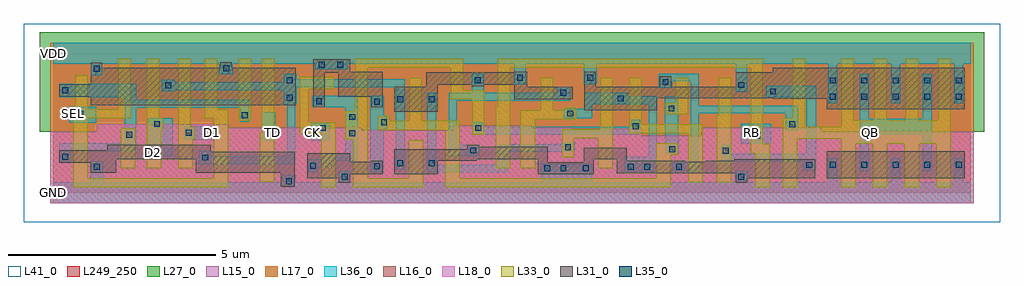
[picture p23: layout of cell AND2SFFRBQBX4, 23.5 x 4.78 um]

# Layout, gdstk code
import gdstk
lib = gdstk.Library(unit=1e-6, precision=1e-09)
def R(c, l, rs):  # rectangles x0, y0, x1, y1
    for r in rs: c.add(gdstk.rectangle(r[:2], r[2:], *l))
def A(c, l, x, y, w, h, nx, ny, dx, dy):  # array of equal rectangles
    R(c, l, [(x+i*dx, y+j*dy, x+i*dx+w, y+j*dy+h) for i in range(nx) for j in range(ny)])
def P(c, l, *ps):  # polygons
    for p in ps: c.add(gdstk.Polygon(p, *l))
L15_0 = (15, 0)
L16_0 = (16, 0)
L17_0 = (17, 0)
L18_0 = (18, 0)
L27_0 = (27, 0)
L31_0 = (31, 0)
L33_0 = (33, 0)
L35_0 = (35, 0)
L36_0 = (36, 0)
L41_0 = (41, 0)
L249_250 = (249, 250)

and2sffrbqbx4 = lib.new_cell('AND2SFFRBQBX4')
P(and2sffrbqbx4, L15_0, [(14.169,1.369),(14.169,1.54),(12.479,1.54),(12.479,1.56),(11.532,1.56),(11.532,1.61),(9.621,1.61),(9.621,1.5),(7.422,1.5),(7.422,1.56),(4.203,1.56),(4.203,1.654),(1.051,1.654),(1.051,1.47),(-0.08,1.47),(-0.08,3.61),(22.16,3.61),(22.16,1.47),(18.481,1.47),(18.481,1.56),(15.614,1.56),(15.614,1.369)])
P(and2sffrbqbx4, L16_0, [(-0.08,-0.25),(-0.08,1.47),(1.051,1.47),(1.051,1.654),(4.203,1.654),(4.203,1.56),(7.422,1.56),(7.422,1.5),(9.621,1.5),(9.621,1.61),(11.532,1.61),(11.532,1.56),(12.479,1.56),(12.479,1.54),(14.169,1.54),(14.169,1.369),(15.614,1.369),(15.614,1.56),(18.481,1.56),(18.481,1.47),(22.16,1.47),(22.16,-0.25)])
P(and2sffrbqbx4, L17_0, [(14.169,1.369),(14.169,1.54),(12.479,1.54),(12.479,1.56),(11.532,1.56),(11.532,1.61),(9.621,1.61),(9.621,1.5),(7.422,1.5),(7.422,1.56),(4.203,1.56),(4.203,1.654),(1.051,1.654),(1.051,1.47),(-0.08,1.47),(-0.08,3.61),(22.16,3.61),(22.16,1.47),(18.481,1.47),(18.481,1.56),(15.614,1.56),(15.614,1.369)])
P(and2sffrbqbx4, L18_0, [(-0.08,-0.25),(-0.08,1.47),(1.051,1.47),(1.051,1.654),(4.203,1.654),(4.203,1.56),(7.422,1.56),(7.422,1.5),(9.621,1.5),(9.621,1.61),(11.532,1.61),(11.532,1.56),(12.479,1.56),(12.479,1.54),(14.169,1.54),(14.169,1.369),(15.614,1.369),(15.614,1.56),(18.481,1.56),(18.481,1.47),(22.16,1.47),(22.16,-0.25)])
P(and2sffrbqbx4, L27_0, [(14.169,1.369),(14.169,1.54),(12.479,1.54),(12.479,1.56),(11.532,1.56),(11.532,1.61),(9.621,1.61),(9.621,1.5),(7.422,1.5),(7.422,1.56),(4.203,1.56),(4.203,1.654),(1.051,1.654),(1.051,1.47),(-0.33,1.47),(-0.33,3.86),(22.41,3.86),(22.41,1.47),(18.481,1.47),(18.481,1.56),(15.614,1.56),(15.614,1.369)])
R(and2sffrbqbx4, L31_0, [(18.62,0.35,21.94,1)])
P(and2sffrbqbx4, L31_0, [(0.9,2.11),(0.9,2.315),(0.14,2.315),(0.14,2.615),(0.9,2.615),(0.9,3.125),(1.18,3.125),(1.18,3.01),(4.016,3.01),(4.016,3.139),(4.296,3.139),(4.296,3.01),(5.83,3.01),(5.83,2.11)],
  [(7.65,2.055),(7.65,2.31),(6.853,2.31),(6.853,2.89),(6.533,2.89),(6.533,2.06),(6.253,2.06),(6.253,3.22),(7.15,3.22),(7.15,2.91),(7.93,2.91),(7.93,2.055)],
  [(12.782,1.99),(12.782,2.91),(13.062,2.91),(13.062,2.55),(14.598,2.55),(14.598,2.809),(14.878,2.809),(14.878,2.55),(16.423,2.55),(16.423,2.9),(17.317,2.9),(17.317,3.01),(21.94,3.01),(21.94,2.01),(18.62,2.01),(18.62,2.26),(17.317,2.26),(17.317,2.27),(14.542,2.27),(14.542,1.99)],
  [(8.21,1.95),(8.21,2.55),(8.97,2.55),(8.97,2.9),(11.094,2.9),(11.094,2.91),(11.406,2.91),(11.406,2.55),(12.502,2.55),(12.502,2.25),(11.094,2.25),(11.094,2.6),(10.354,2.6),(10.354,2.57),(10.074,2.57),(10.074,2.6),(9.25,2.6),(9.25,1.95)],
  [(6.87,0.247),(6.87,0.35),(6.11,0.35),(6.11,0.95),(7.15,0.95),(7.15,0.75),(7.65,0.75),(7.65,0.776),(7.93,0.776),(7.93,0.45),(7.15,0.45),(7.15,0.247)],
  [(16.423,0.246),(16.423,0.47),(13.562,0.47),(13.562,0.81),(13.012,0.81),(13.012,0.45),(11.664,0.45),(11.664,0.81),(10.188,0.81),(10.188,0.77),(9.25,0.77),(9.25,0.45),(8.21,0.45),(8.21,1.05),(9.968,1.05),(9.968,1.16),(10.248,1.16),(10.248,1.11),(11.904,1.11),(11.904,0.73),(12.772,0.73),(12.772,1.09),(13.802,1.09),(13.802,0.77),(15.21,0.77),(15.21,0.75),(15.7,0.75),(15.7,0.77),(16.393,0.77),(16.393,0.81),(18.34,0.81),(18.34,0.35),(16.703,0.35),(16.703,0.246)],
  [(5.47,0.14),(5.47,0.488),(3.421,0.488),(3.421,0.81),(1.515,0.81),(1.515,0.485),(0.9,0.485),(0.9,0.72),(0.14,0.72),(0.14,1.02),(1.295,1.02),(1.295,1.16),(3.792,1.16),(3.792,0.988),(5.81,0.988),(5.81,0.14)])
R(and2sffrbqbx4, L33_0, [(1.615,0.59,1.965,1.55), (4.462,1.73,4.762,3.23)])
P(and2sffrbqbx4, L33_0, [(14.742,1.89),(14.742,2.17),(14.978,2.17),(14.978,2.77),(15.278,2.77),(15.278,1.89)],
  [(13.112,0.59),(13.112,1.31),(12.529,1.31),(12.529,0.853),(12.249,0.853),(12.249,1.53),(13.162,1.53),(13.162,2.77),(13.462,2.77),(13.462,0.59)],
  [(11.244,0.59),(11.244,1.99),(11.737,1.99),(11.737,2.77),(12.037,2.77),(12.037,1.99),(12.304,1.99),(12.304,2.05),(12.584,2.05),(12.584,1.77),(11.594,1.77),(11.594,0.59)],
  [(3.001,0.59),(3.001,3.23),(3.301,3.23),(3.301,1.582),(3.4,1.582),(3.4,1.302),(3.351,1.302),(3.351,0.59)],
  [(2.241,0.59),(2.241,3.23),(2.541,3.23),(2.541,1.796),(2.633,1.796),(2.633,1.496),(2.591,1.496),(2.591,0.59)],
  [(4.97,0.268),(4.97,1.429),(5.02,1.429),(5.02,3.23),(5.32,3.23),(5.32,0.268)],
  [(15.973,0.25),(15.973,1.859),(16.023,1.859),(16.023,2.77),(16.323,2.77),(16.323,0.25)],
  [(15.28,0.25),(15.28,1.43),(13.862,1.43),(13.862,2.77),(14.162,2.77),(14.162,1.65),(15.63,1.65),(15.63,0.25)],
  [(17.56,0.13),(17.56,1.791),(17.797,1.791),(17.797,3.23),(18.097,3.23),(18.097,1.586),(18.97,1.586),(18.97,3.23),(19.27,3.23),(19.27,1.744),(19.76,1.744),(19.76,3.23),(20.06,3.23),(20.06,1.744),(20.52,1.744),(20.52,3.23),(20.82,3.23),(20.82,1.744),(21.3,1.744),(21.3,3.23),(21.6,3.23),(21.6,0.13),(21.25,0.13),(21.25,1.183),(20.84,1.183),(20.84,0.13),(20.49,0.13),(20.49,1.183),(20.08,1.183),(20.08,0.13),(19.73,0.13),(19.73,1.183),(19.32,1.183),(19.32,0.13),(18.97,0.13),(18.97,1.306),(17.91,1.306),(17.91,0.13)],
  [(16.892,0.13),(16.892,0.957),(16.783,0.957),(16.783,3.01),(10.994,3.01),(10.994,0.59),(10.644,0.59),(10.644,2.056),(10.694,2.056),(10.694,3.23),(17.083,3.23),(17.083,1.177),(17.242,1.177),(17.242,0.13)],
  [(9.431,0.13),(9.431,1.51),(7.82,1.51),(7.82,1.84),(8.09,1.84),(8.09,1.73),(8.57,1.73),(8.57,2.77),(8.87,2.77),(8.87,1.73),(9.781,1.73),(9.781,0.35),(14.513,0.35),(14.513,1.19),(15.03,1.19),(15.03,0.91),(14.863,0.91),(14.863,0.13)],
  [(7.22,0.13),(7.22,1.293),(7.03,1.293),(7.03,1.963),(7.27,1.963),(7.27,3.23),(9.868,3.23),(9.868,2.47),(10.367,2.47),(10.367,1.4),(10.087,1.4),(10.087,2.25),(9.568,2.25),(9.568,3.01),(7.57,3.01),(7.57,0.35),(8.55,0.35),(8.55,1.27),(8.9,1.27),(8.9,0.13)],
  [(6.45,0.13),(6.45,1.42),(5.93,1.42),(5.93,2.79),(6.753,2.79),(6.753,2.49),(6.15,2.49),(6.15,1.7),(6.8,1.7),(6.8,0.13)],
  [(0.48,0.13),(0.48,1.767),(0.389,1.767),(0.389,2.047),(0.52,2.047),(0.52,2.835),(0.82,2.835),(0.82,2.01),(1.557,2.01),(1.557,3.23),(1.857,3.23),(1.857,1.79),(0.83,1.79),(0.83,0.35),(3.862,0.35),(3.862,1.79),(3.646,1.79),(3.646,3.23),(3.946,3.23),(3.946,2.01),(4.212,2.01),(4.212,0.131),(4.21,0.131),(4.21,0.13)])
A(and2sffrbqbx4, L35_0, 18.69, 0.605, 0.14, 0.14, 5, 2, 0.76, 1.64)
A(and2sffrbqbx4, L35_0, 18.69, 2.635, 0.14, 0.14, 5, 1, 0.76, 0)
R(and2sffrbqbx4, L35_0, [(5.6,0.21,5.74,0.35), (16.493,0.316,16.633,0.456), (6.94,0.317,7.08,0.457), (11.819,0.52,11.959,0.66), (12.209,0.52,12.349,0.66), (12.747,0.52,12.887,0.66), (0.97,0.555,1.11,0.695), (13.833,0.56,13.973,0.7), (14.223,0.56,14.363,0.7), (14.993,0.56,15.133,0.7), (7.72,0.566,7.86,0.706), (6.18,0.58,6.32,0.72), (18.13,0.6,18.27,0.74), (8.28,0.64,8.42,0.78), (9.04,0.64,9.18,0.78), (3.582,0.778,3.722,0.918), (0.21,0.798,0.35,0.938), (16.113,0.94,16.253,1.08), (10.038,0.95,10.178,1.09), (14.83,0.98,14.97,1.12), (12.319,1.023,12.459,1.163), (16.873,1.303,17.013,1.443), (1.755,1.33,1.895,1.47), (5.11,1.344,5.25,1.484), (7.12,1.363,7.26,1.503), (3.19,1.372,3.33,1.512), (6.418,1.49,6.558,1.63), (10.157,1.49,10.297,1.63), (13.952,1.53,14.092,1.67), (17.72,1.581,17.86,1.721), (2.423,1.586,2.563,1.726), (7.89,1.63,8.03,1.77), (7.12,1.753,7.26,1.893), (4.532,1.8,4.672,1.94), (0.575,1.837,0.715,1.977), (12.374,1.84,12.514,1.98), (14.812,1.96,14.952,2.1), (7.72,2.125,7.86,2.265), (6.323,2.13,6.463,2.27), (8.28,2.18,8.42,2.32), (9.04,2.18,9.18,2.32), (13.592,2.2,13.732,2.34), (5.62,2.22,5.76,2.36), (12.207,2.34,12.347,2.48), (17.253,2.37,17.393,2.51), (0.21,2.395,0.35,2.535), (2.691,2.516,2.831,2.656), (16.493,2.524,16.633,2.664), (14.668,2.599,14.808,2.739), (5.62,2.64,5.76,2.78), (10.144,2.64,10.284,2.78), (11.164,2.7,11.304,2.84), (12.852,2.7,12.992,2.84), (0.97,2.915,1.11,3.055), (4.086,2.929,4.226,3.069), (6.388,3.01,6.528,3.15), (6.838,3.01,6.978,3.15)])
R(and2sffrbqbx4, L36_0, [(2.285,0.876,2.876,1.796), (16.547,1.176,17.288,1.659), (5.011,1.248,5.34,1.94), (6.19,1.25,6.648,1.67), (3.15,1.282,3.864,1.602), (0.384,1.687,1.035,2.067)])
P(and2sffrbqbx4, L36_0, [(14.74,0.94),(14.74,1.297),(14.722,1.297),(14.722,2.329),(15.042,2.329),(15.042,1.442),(15.06,1.442),(15.06,0.94)],
  [(9.521,0.88),(9.521,2.41),(10.074,2.41),(10.074,2.87),(10.354,2.87),(10.354,2.41),(12.117,2.41),(12.117,2.55),(12.437,2.55),(12.437,2.22),(9.711,2.22),(9.711,1.16),(10.248,1.16),(10.248,0.88)],
  [(0.14,0.728),(0.14,1.195),(1.716,1.195),(1.716,2.305),(0.14,2.305),(0.14,2.625),(1.996,2.625),(1.996,2.239),(4.712,2.239),(4.712,1.71),(4.492,1.71),(4.492,2.049),(1.996,2.049),(1.996,1.005),(0.42,1.005),(0.42,0.728)],
  [(8.24,0.55),(8.24,2.54),(5.86,2.54),(5.86,2.13),(5.82,2.13),(5.82,0.688),(3.492,0.688),(3.492,1.008),(3.792,1.008),(3.792,0.878),(5.63,0.878),(5.63,2.13),(5.55,2.13),(5.55,2.469),(2.921,2.469),(2.921,2.446),(2.601,2.446),(2.601,2.726),(2.921,2.726),(2.921,2.659),(5.55,2.659),(5.55,2.87),(5.86,2.87),(5.86,2.73),(8.46,2.73),(8.46,0.55)],
  [(18.04,0.53),(18.04,0.746),(16.073,0.746),(16.073,1.17),(16.293,1.17),(16.293,0.936),(18.13,0.936),(18.13,2.3),(17.163,2.3),(17.163,2.58),(18.36,2.58),(18.36,0.53)],
  [(14.903,0.52),(14.903,0.74),(15.342,0.74),(15.342,2.68),(14.898,2.68),(14.898,2.529),(14.578,2.529),(14.578,2.87),(15.532,2.87),(15.532,2.1),(17.93,2.1),(17.93,1.491),(17.63,1.491),(17.63,1.91),(15.532,1.91),(15.532,0.52)],
  [(19.41,0.515),(19.41,2.865),(19.63,2.865),(19.63,1.785),(20.93,1.785),(20.93,2.865),(21.15,2.865),(21.15,0.515),(20.93,0.515),(20.93,1.4),(19.63,1.4),(19.63,0.515)],
  [(13.743,0.49),(13.743,0.87),(14.332,0.87),(14.332,2.13),(12.972,2.13),(12.972,1.8),(12.284,1.8),(12.284,2.02),(12.782,2.02),(12.782,2.41),(13.824,2.41),(13.824,2.32),(14.522,2.32),(14.522,0.49)],
  [(9,0.49),(9,2.41),(9.22,2.41),(9.22,0.68),(10.714,0.68),(10.714,1.173),(12.229,1.173),(12.229,1.203),(12.549,1.203),(12.549,0.983),(10.934,0.983),(10.934,0.49)],
  [(7.63,0.49),(7.63,2.335),(7.95,2.335),(7.95,1.86),(8.04,1.86),(8.04,1.54),(7.95,1.54),(7.95,0.49)],
  [(6.14,0.49),(6.14,0.81),(6.496,0.81),(6.496,0.957),(7.03,0.957),(7.03,2.06),(6.233,2.06),(6.233,2.34),(7.33,2.34),(7.33,0.767),(6.69,0.767),(6.69,0.62),(6.36,0.62),(6.36,0.49)],
  [(0,-0.25),(0,0.25),(0.88,0.25),(0.88,0.765),(1.2,0.765),(1.2,0.25),(5.51,0.25),(5.51,0.42),(5.83,0.42),(5.83,0.25),(6.87,0.25),(6.87,0.527),(7.15,0.527),(7.15,0.25),(11.729,0.25),(11.729,0.7),(12.977,0.7),(12.977,0.25),(16.403,0.25),(16.403,0.526),(16.723,0.526),(16.723,0.25),(18.65,0.25),(18.65,0.835),(18.87,0.835),(18.87,0.25),(20.17,0.25),(20.17,0.835),(20.39,0.835),(20.39,0.25),(21.69,0.25),(21.69,0.835),(21.91,0.835),(21.91,0.25),(22.08,0.25),(22.08,-0.25)],
  [(10.087,1.403),(10.087,1.7),(10.367,1.7),(10.367,1.593),(13.912,1.593),(13.912,1.76),(14.132,1.76),(14.132,1.403)],
  [(18.65,2.155),(18.65,3.11),(16.703,3.11),(16.703,2.434),(16.423,2.434),(16.423,3.11),(13.082,3.11),(13.082,2.61),(12.762,2.61),(12.762,3.11),(11.374,3.11),(11.374,2.61),(11.094,2.61),(11.094,3.11),(7.068,3.11),(7.068,2.97),(6.298,2.97),(6.298,3.11),(4.316,3.11),(4.316,2.859),(3.996,2.859),(3.996,3.11),(1.18,3.11),(1.18,2.825),(0.9,2.825),(0.9,3.11),(0,3.11),(0,3.61),(22.08,3.61),(22.08,3.11),(21.91,3.11),(21.91,2.155),(21.69,2.155),(21.69,3.11),(20.39,3.11),(20.39,2.155),(20.17,2.155),(20.17,3.11),(18.87,3.11),(18.87,2.155)])
R(and2sffrbqbx4, L41_0, [(-0.71,-0.708,22.79,4.068)])
R(and2sffrbqbx4, L249_250, [(0,0,22.08,3.36)])
and2sffrbqbx4.add(gdstk.Label('QB', (19.68,1.44), layer=211, texttype=0))
and2sffrbqbx4.add(gdstk.Label('RB', (16.8,1.44), layer=211, texttype=0))
and2sffrbqbx4.add(gdstk.Label('CK', (6.24,1.44), layer=211, texttype=0))
and2sffrbqbx4.add(gdstk.Label('TD', (5.28,1.44), layer=211, texttype=0))
and2sffrbqbx4.add(gdstk.Label('D1', (3.84,1.44), layer=211, texttype=0))
and2sffrbqbx4.add(gdstk.Label('D2', (2.4,0.96), layer=211, texttype=0))
and2sffrbqbx4.add(gdstk.Label('SEL', (0.48,1.92), layer=211, texttype=0))
and2sffrbqbx4.add(gdstk.Label('VDD', (0,3.36), layer=211, texttype=0))
and2sffrbqbx4.add(gdstk.Label('GND', (0,0), layer=211, texttype=0))

lib.write_gds('AND2SFFRBQBX4.gds')
